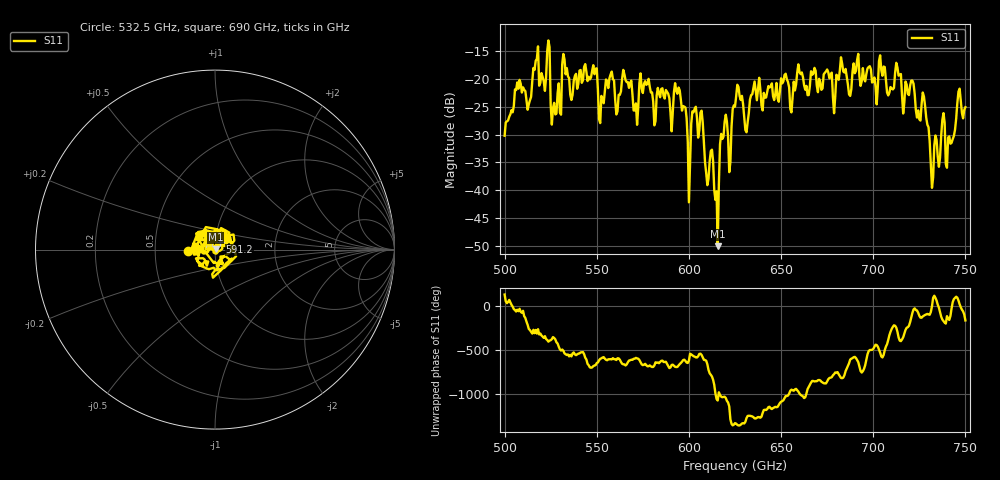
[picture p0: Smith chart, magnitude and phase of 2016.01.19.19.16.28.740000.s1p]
!Created with skrf (http://scikit-rf.org).
# GHz S RI R 50.0
!freq ReS11 ImS11
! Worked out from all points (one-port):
!   401 points, 500 GHz to 750 GHz, reference 50 ohm
!   lowest |S11| = -50.0 dB at 615.6 GHz (marker M1), VSWR 1.01, Z = 50.3 + j0.0657 ohm
!   |S11| at or under -10 dB: start of sweep to end of sweep
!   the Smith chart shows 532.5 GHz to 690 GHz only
!   S11 on the Smith chart (normalised r, x): 532.5 GHz: 0.74, -0.01; 591.2 GHz: 1.06, +0.09; 690 GHz: 0.83, +0.11
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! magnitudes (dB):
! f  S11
! 500 GHz  -30.2
! 506.9 GHz  -20.6
! 513.1 GHz  -24.5
! 516.9 GHz  -16.7
! 523.8 GHz  -13.1
! 526.9 GHz  -24.3
! 531.2 GHz  -17.4
! 532.5 GHz  -16.5
! 536.2 GHz  -23.8
! 548.8 GHz  -19.1
! 552.5 GHz  -23.0
! 562.5 GHz  -22.9
! 591.2 GHz  -25.8
! 593.8 GHz  -22.7
! 600 GHz  -42.2
! 603.1 GHz  -25.4
! 615.6 GHz  -50.0
! 618.1 GHz  -30.8
! 622.5 GHz  -34.9
! 625 GHz  -25.0
! 656.2 GHz  -23.2
! 660 GHz  -18.8
! 687.5 GHz  -23.0
! 690 GHz  -19.0
! 718.8 GHz  -22.7
! 727.5 GHz  -23.1
! 731.9 GHz  -39.6
! 750 GHz  -25.1
